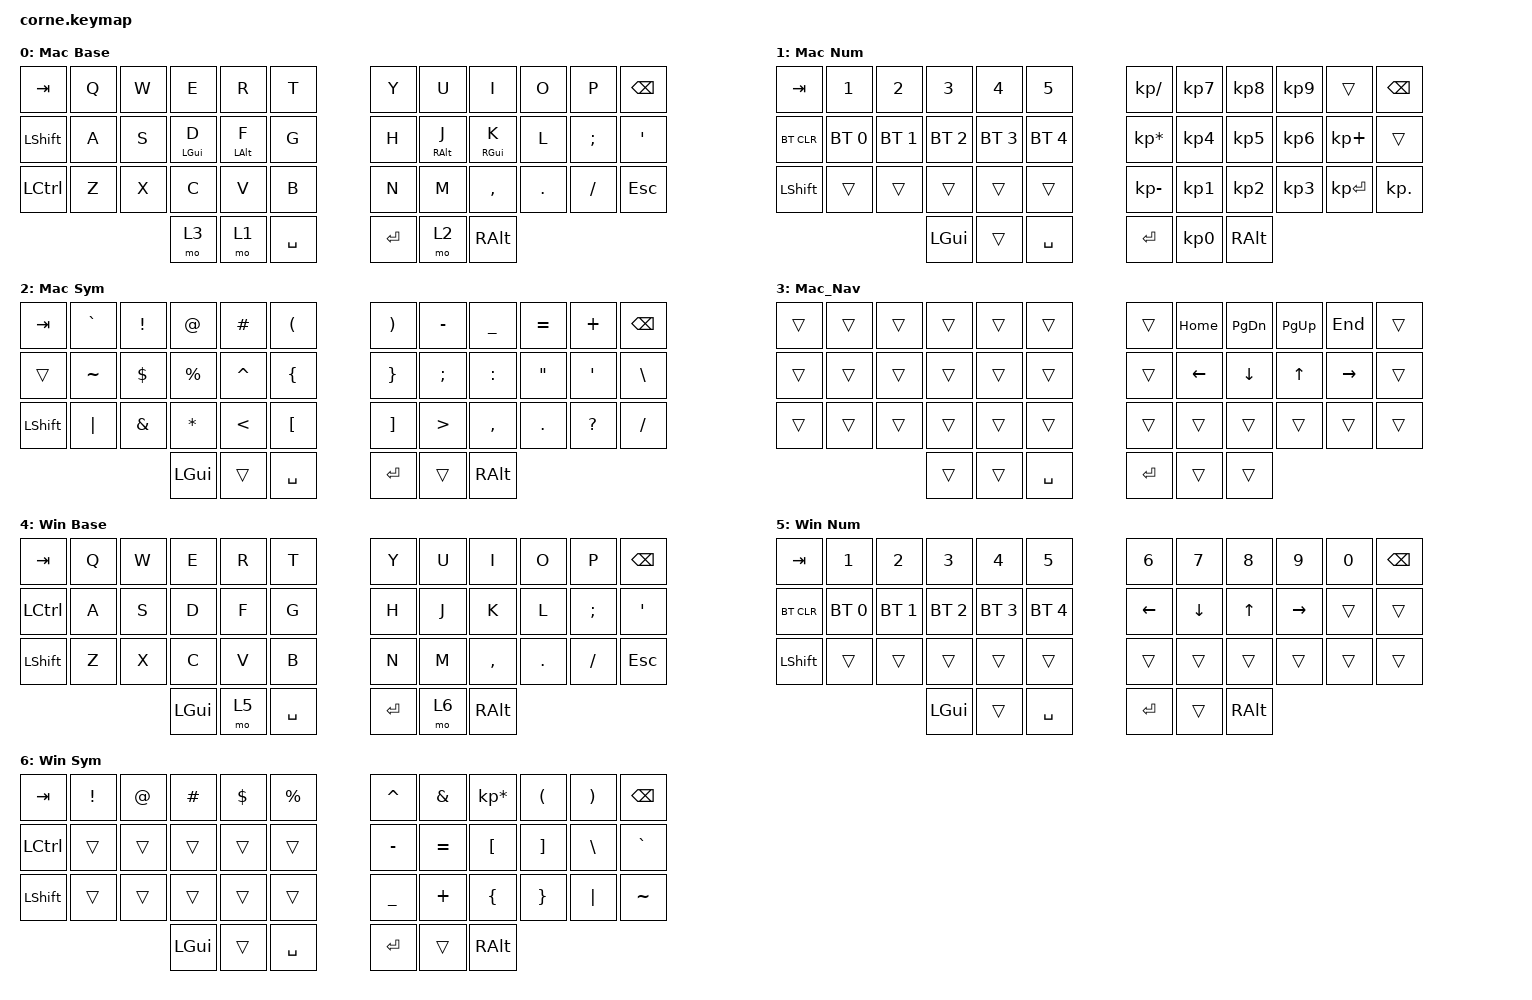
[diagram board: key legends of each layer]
/*
 * Copyright (c) 2020 The ZMK Contributors
 *
 * SPDX-License-Identifier: MIT
 */

#include <behaviors.dtsi>
#include <dt-bindings/zmk/bt.h>
#include <dt-bindings/zmk/keys.h>

/ {
    keymap {
        compatible = "zmk,keymap";

        Mac_Base {
            // -----------------------------------------------------------------------------------------
            // |  TAB |  Q  |  W  |  E  |  R  |  T  |   |  Y  |  U   |  I  |  O  |  P  | BKSP |
            // | CTRL |  A  |  S  |  D  |  F  |  G  |   |  H  |  J   |  K  |  L  |  ;  |  '   |
            // | SHFT |  Z  |  X  |  C  |  V  |  B  |   |  N  |  M   |  ,  |  .  |  /  | ESC  |
            //                    | GUI | LWR | SPC |   | ENT | RSE  | ALT |

            display-name = "Mac Base";
            bindings = <
&kp TAB           &kp Q  &kp W  &kp E           &kp R           &kp T        &kp Y    &kp U            &kp I            &kp O    &kp P     &kp BSPC
&kp LEFT_SHIFT    &kp A  &kp S  &mt LEFT_GUI D  &mt LEFT_ALT F  &kp G        &kp H    &mt RIGHT_ALT J  &mt RIGHT_GUI K  &kp L    &kp SEMI  &kp SQT
&kp LEFT_CONTROL  &kp Z  &kp X  &kp C           &kp V           &kp B        &kp N    &kp M            &kp COMMA        &kp DOT  &kp FSLH  &kp ESC
                                &mo 3           &mo 1           &kp SPACE    &kp RET  &mo 2            &kp RALT
            >;
        };

        Mac_Num {
            // -----------------------------------------------------------------------------------------
            // |  TAB |  1  |  2  |  3  |  4  |  5  |   |  6  |  7  |  8  |  9  |  0  | BKSP |
            // | BTCLR| BT1 | BT2 | BT3 | BT4 | BT5 |   | LFT | DWN |  UP | RGT |     |      |
            // | SHFT |     |     |     |     |     |   |     |     |     |     |     |      |
            //                    | GUI |     | SPC |   | ENT |     | ALT |

            display-name = "Mac Num";
            bindings = <
&kp TAB     &kp N1        &kp N2        &kp N3        &kp N4        &kp N5          &kp KP_DIVIDE    &kp KP_NUMBER_7  &kp KP_NUMBER_8  &kp KP_NUMBER_9  &trans        &kp BSPC
&bt BT_CLR  &bt BT_SEL 0  &bt BT_SEL 1  &bt BT_SEL 2  &bt BT_SEL 3  &bt BT_SEL 4    &kp KP_MULTIPLY  &kp KP_NUMBER_4  &kp KP_NUMBER_5  &kp KP_NUMBER_6  &kp KP_PLUS   &trans
&kp LSHFT   &trans        &trans        &trans        &trans        &trans          &kp KP_MINUS     &kp KP_NUMBER_1  &kp KP_NUMBER_2  &kp KP_NUMBER_3  &kp KP_ENTER  &kp KP_DOT
                                        &kp LGUI      &trans        &kp SPACE       &kp RET          &kp KP_NUMBER_0  &kp RALT
            >;
        };

        Mac_Sym {
            // -----------------------------------------------------------------------------------------
            // |  TAB |  !  |  @  |  #  |  $  |  %  |   |  ^  |  &  |  *  |  (  |  )  | BKSP |
            // | CTRL |     |     |     |     |     |   |  -  |  =  |  [  |  ]  |  \  |  `   |
            // | SHFT |     |     |     |     |     |   |  _  |  +  |  {  |  }  | "|" |  ~   |
            //                    | GUI |     | SPC |   | ENT |     | ALT |

            display-name = "Mac Sym";
            bindings = <
&kp TAB    &kp GRAVE  &kp EXCL       &kp AT        &kp POUND      &kp LEFT_PARENTHESIS    &kp RIGHT_PARENTHESIS  &kp MINUS         &kp UNDERSCORE  &kp EQUAL          &kp PLUS      &kp BSPC
&trans     &kp TILDE  &kp DOLLAR     &kp PERCENT   &kp CARET      &kp LEFT_BRACE          &kp RIGHT_BRACE        &kp SEMICOLON     &kp COLON       &kp DOUBLE_QUOTES  &kp SQT       &kp BACKSLASH
&kp LSHFT  &kp PIPE   &kp AMPERSAND  &kp ASTERISK  &kp LESS_THAN  &kp LBKT                &kp RIGHT_BRACKET      &kp GREATER_THAN  &kp COMMA       &kp PERIOD         &kp QUESTION  &kp FSLH
                                     &kp LGUI      &trans         &kp SPACE               &kp RET                &trans            &kp RALT
            >;
        };

        Mac_Nav {
            bindings = <
&trans  &trans  &trans  &trans  &trans  &trans       &trans      &kp HOME  &kp PAGE_DOWN  &kp PAGE_UP   &kp END    &trans
&trans  &trans  &trans  &trans  &trans  &trans       &trans      &kp LEFT  &kp DOWN       &kp UP_ARROW  &kp RIGHT  &trans
&trans  &trans  &trans  &trans  &trans  &trans       &trans      &trans    &trans         &trans        &trans     &trans
                        &trans  &trans  &kp SPACE    &kp RETURN  &trans    &trans
            >;
        };

        Win_Base {
            display-name = "Win Base";
            bindings = <
&kp TAB    &kp Q  &kp W  &kp E     &kp R  &kp T        &kp Y    &kp U  &kp I      &kp O    &kp P     &kp BSPC
&kp LCTRL  &kp A  &kp S  &kp D     &kp F  &kp G        &kp H    &kp J  &kp K      &kp L    &kp SEMI  &kp SQT
&kp LSHFT  &kp Z  &kp X  &kp C     &kp V  &kp B        &kp N    &kp M  &kp COMMA  &kp DOT  &kp FSLH  &kp ESC
                         &kp LGUI  &mo 5  &kp SPACE    &kp RET  &mo 6  &kp RALT
            >;
        };

        Win_Num {
            display-name = "Win Num";
            bindings = <
&kp TAB     &kp N1        &kp N2        &kp N3        &kp N4        &kp N5          &kp N6    &kp N7    &kp N8    &kp N9     &kp N0  &kp BSPC
&bt BT_CLR  &bt BT_SEL 0  &bt BT_SEL 1  &bt BT_SEL 2  &bt BT_SEL 3  &bt BT_SEL 4    &kp LEFT  &kp DOWN  &kp UP    &kp RIGHT  &trans  &trans
&kp LSHFT   &trans        &trans        &trans        &trans        &trans          &trans    &trans    &trans    &trans     &trans  &trans
                                        &kp LGUI      &trans        &kp SPACE       &kp RET   &trans    &kp RALT
            >;
        };

        Win_Sym {
            display-name = "Win Sym";
            bindings = <
&kp TAB    &kp EXCL  &kp AT  &kp HASH  &kp DLLR  &kp PRCNT    &kp CARET  &kp AMPS   &kp KP_MULTIPLY  &kp LPAR  &kp RPAR  &kp BSPC
&kp LCTRL  &trans    &trans  &trans    &trans    &trans       &kp MINUS  &kp EQUAL  &kp LBKT         &kp RBKT  &kp BSLH  &kp GRAVE
&kp LSHFT  &trans    &trans  &trans    &trans    &trans       &kp UNDER  &kp PLUS   &kp LBRC         &kp RBRC  &kp PIPE  &kp TILDE
                             &kp LGUI  &trans    &kp SPACE    &kp RET    &trans     &kp RALT
            >;
        };
    };
};
